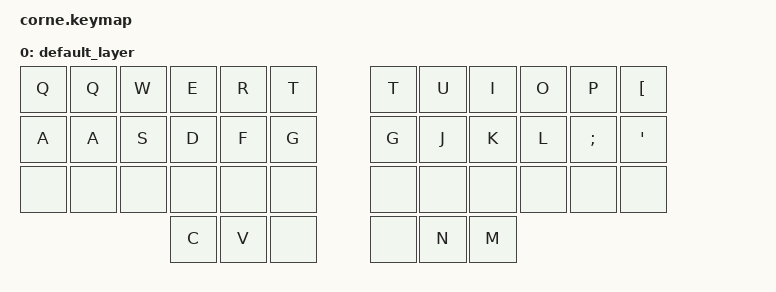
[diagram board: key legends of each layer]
/*
 * Copyright (c) 2020 The ZMK Contributors
 *
 * SPDX-License-Identifier: MIT
 */

#include <behaviors.dtsi>
#include <dt-bindings/zmk/keys.h>
#include <dt-bindings/zmk/bt.h>

/ {
        keymap {
                compatible = "zmk,keymap";

                default_layer {
// -----------------------------------------------------------------------------------------
// |  Q  |  Q  |  W  |  E  |  R  |  T  |   |  T  |  U  |  I  |  O  |  P  |  [  |
// |  A  |  A  |  S  |  D  |  F  |  G  |   |  G  |  J  |  K  |  L  |  ;  |  '  |
// |     |     |     |     |     |     |   |     |     |     |     |     |     |
//                   |  C  |  V  |     |   |     |  N  |  M  |
                        bindings = <
   &kp Q &kp Q &kp W &kp E &kp R &kp T   &kp T &kp U &kp I &kp O &kp P    &kp LBKT
   &kp A &kp A &kp S &kp D &kp F &kp G   &kp G &kp J &kp K &kp L &kp SEMI &kp SQT
   &none &none &none &none &none &none   &none &none &none &none &none    &none
                     &kp C &kp V &none   &none &kp N &kp M
                        >;
                };
        };
};
